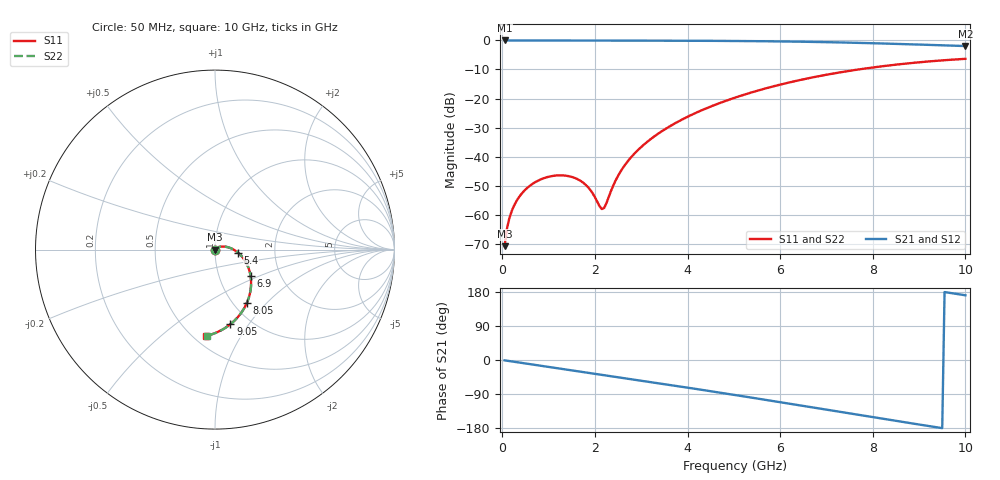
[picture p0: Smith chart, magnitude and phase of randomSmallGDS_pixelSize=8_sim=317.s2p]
! freq	dB(S11)	phase(S11)	dB(S12)	phase(S12)
!  dB(S21)	phase(S21)	dB(S22)	phase(S22)
!S-par simulation data
#  GHz  S  DB  R 50
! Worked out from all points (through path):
!   200 points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, 50 MHz to 10 GHz, reference 50 ohm
!   highest |S21| = 0.00 dB at 50 MHz (marker M1); lowest = -1.9 dB at 10 GHz (marker M2)
!   group delay of S21, straight-line fit = 52.9 ps
!   lowest |S11| = -70.8 dB at 50 MHz (marker M3), VSWR 1.00, Z = 50 - j0.0286 ohm
!   |S11| at or under -10 dB: start of sweep to 7.688 GHz
!   |S22| runs from -70.8 to -6.3 dB; largest |S21 - S12| = 0
!   S11 on the Smith chart (normalised r, x): 50 MHz: 1.00, -0.00; 5.4 GHz: 1.29, -0.04; 6.9 GHz: 1.41, -0.45; 8.05 GHz: 1.15, -0.78; 9.05 GHz: 0.81, -0.82; 10 GHz: 0.58, -0.72
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0.05  -70.83 -84.9  -0.00 -0.9  -0.00 -0.9  -70.83 -84.9
0.1  -64.86 -89.1  -0.00 -1.8  -0.00 -1.8  -64.86 -89.1
0.2  -58.91 -92.9  -0.00 -3.6  -0.00 -3.6  -58.91 -92.9
0.35  -54.20 -96.9  -0.01 -6.4  -0.01 -6.4  -54.20 -96.9
0.55  -50.62 -101.7  -0.01 -10.0  -0.01 -10.0  -50.62 -101.7
1.15  -46.52 -115.9  -0.02 -20.8  -0.02 -20.8  -46.52 -116.0
1.75  -49.01 -135.9  -0.03 -31.6  -0.03 -31.6  -49.00 -136.4
1.95  -52.61 -151.8  -0.04 -35.2  -0.04 -35.2  -52.56 -152.6
2.1  -57.07 174.1  -0.04 -37.9  -0.04 -37.9  -56.86 173.1
2.2  -57.66 126.4  -0.04 -39.7  -0.04 -39.7  -57.37 126.7
2.45  -48.11 67.4  -0.05 -44.3  -0.05 -44.3  -48.05 68.2
2.65  -42.84 55.1  -0.05 -47.9  -0.05 -47.9  -42.82 55.6
3.4  -31.73 33.3  -0.07 -61.7  -0.07 -61.7  -31.73 33.6
4.15  -25.15 17.5  -0.11 -75.7  -0.11 -75.7  -25.14 17.6
5.05  -19.56 -0.4  -0.18 -92.9  -0.18 -92.9  -19.56 -0.3
5.4  -17.81 -7.3  -0.23 -99.6  -0.23 -99.6  -17.81 -7.2
6.7  -12.72 -33.0  -0.49 -125.1  -0.49 -125.1  -12.72 -32.9
6.9  -12.10 -36.9  -0.55 -129.1  -0.55 -129.1  -12.10 -36.9
8.05  -9.20 -59.4  -0.97 -151.8  -0.97 -151.8  -9.20 -59.3
8.35  -8.61 -65.1  -1.10 -157.7  -1.10 -157.7  -8.60 -65.0
9.05  -7.45 -78.3  -1.44 -171.2  -1.44 -171.2  -7.45 -78.2
10  -6.32 -95.7  -1.93 170.8  -1.93 170.8  -6.32 -95.6
